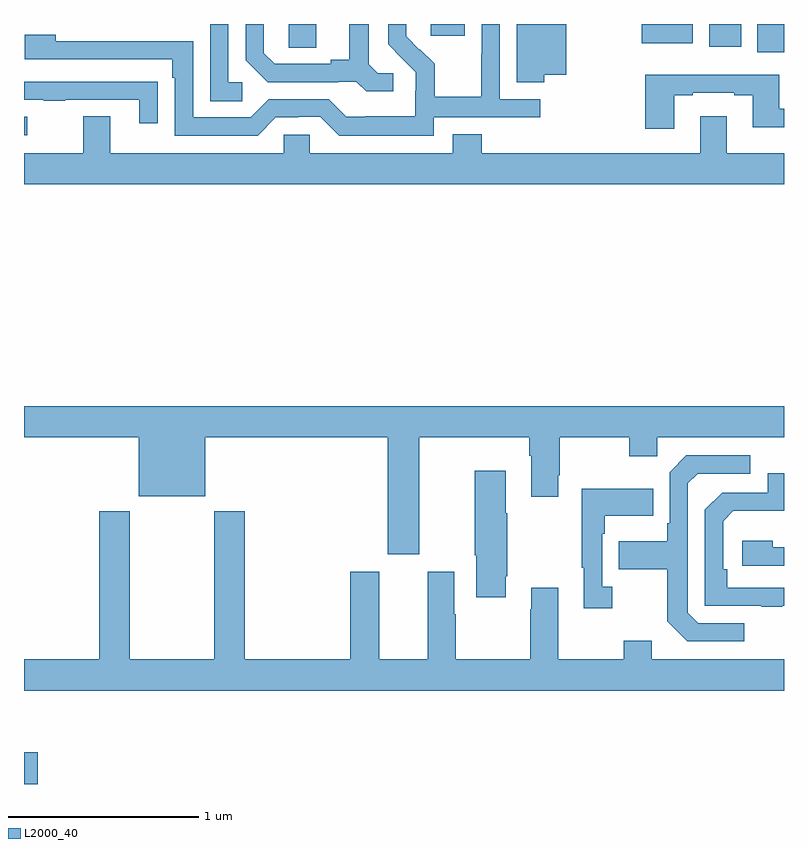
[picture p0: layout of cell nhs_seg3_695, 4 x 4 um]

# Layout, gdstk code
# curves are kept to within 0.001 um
import gdstk
lib = gdstk.Library(unit=1e-6, precision=1e-09)
def R(c, l, rs):  # rectangles x0, y0, x1, y1
    for r in rs: c.add(gdstk.rectangle(r[:2], r[2:], *l))
def P(c, l, *ps):  # polygons
    for p in ps: c.add(gdstk.Polygon(p, *l))
L2000_40 = (2000, 40)

nhs_seg3_695 = lib.new_cell('nhs_seg3_695')
R(nhs_seg3_695, L2000_40, [(145,724.4,145.073,724.567), (145,727.815,145.018,727.911), (148.859,728.252,149,728.4), (146.394,728.275,146.539,728.4), (148.607,728.28,148.774,728.4), (148.25,728.3,148.519,728.4), (147.14,728.337,147.319,728.4)])
P(nhs_seg3_695, L2000_40, [(147.737,728.132),(147.853,728.132),(147.853,728.4),(147.593,728.4),(147.593,728.093),(147.737,728.093)],
  [(146.944,728.142),(146.862,728.142),(146.815,728.189),(146.815,728.4),(146.711,728.4),(146.711,728.213),(146.615,728.213),(146.615,728.19),(146.32,728.19),(146.263,728.247),(146.263,728.4),(146.166,728.4),(146.166,728.21),(146.282,728.094),(146.654,728.094),(146.654,728.097),(146.748,728.097),(146.8,728.045),(146.944,728.045)],
  [(147.156,727.908),(147.718,727.908),(147.718,728.004),(147.504,728.004),(147.504,728.4),(147.408,728.4),(147.408,728.24),(147.406,728.24),(147.406,728.017),(147.161,728.017),(147.161,728.191),(147.084,728.268),(147.081,728.265),(147.011,728.336),(147.011,728.4),(146.916,728.4),(146.916,728.294),(147.062,728.146),(147.062,728.049),(147.06,728.049),(147.06,727.915),(146.797,727.915),(146.797,727.911),(146.697,727.911),(146.604,728.004),(146.289,728.004),(146.193,727.908),(145.89,727.908),(145.89,728.31),(145.166,728.31),(145.166,728.344),(145.005,728.344),(145.005,728.214),(145.781,728.214),(145.781,728.117),(145.794,728.117),(145.794,727.812),(146.229,727.812),(146.325,727.908),(146.444,727.908),(146.444,727.911),(146.559,727.911),(146.659,727.811),(147.156,727.811)],
  [(146.149,728.094),(146.076,728.094),(146.076,728.4),(145.98,728.4),(145.98,727.993),(146.149,727.993)],
  [(148.423,728.025),(148.519,728.025),(148.519,728.037),(148.739,728.037),(148.739,728.025),(148.835,728.025),(148.835,727.856),(149,727.856),(149,727.953),(148.975,727.953),(148.975,728.134),(148.271,728.134),(148.271,727.848),(148.423,727.848)],
  [(145.703,728.096),(145.601,728.096),(145.601,728.097),(145,728.097),(145,728.001),(145.105,728.001),(145.105,727.996),(145.217,727.996),(145.217,728.001),(145.607,728.001),(145.607,727.878),(145.703,727.878)],
  [(148.559,727.915),(148.559,727.72),(147.41,727.72),(147.41,727.819),(147.257,727.819),(147.257,727.72),(146.505,727.72),(146.505,727.818),(146.367,727.818),(146.367,727.72),(145.453,727.72),(145.453,727.915),(145.313,727.915),(145.313,727.72),(145,727.72),(145,727.556),(149,727.556),(149,727.72),(148.699,727.72),(148.699,727.915)],
  [(147.079,726.224),(147.659,726.224),(147.659,726.128),(147.671,726.128),(147.671,725.913),(147.811,725.913),(147.811,726.025),(147.819,726.025),(147.819,726.224),(148.186,726.224),(148.186,726.125),(148.332,726.125),(148.332,726.224),(149,726.224),(149,726.388),(145,726.388),(145,726.224),(145.604,726.224),(145.604,725.915),(145.954,725.915),(145.954,726.224),(146.915,726.224),(146.915,725.61),(147.079,725.61)],
  [(148.792,725.247),(148.548,725.247),(148.494,725.301),(148.494,725.982),(148.545,726.033),(148.822,726.033),(148.822,726.129),(148.485,726.129),(148.398,726.042),(148.398,725.773),(148.386,725.773),(148.386,725.677),(148.129,725.677),(148.129,725.53),(148.386,725.53),(148.386,725.257),(148.491,725.151),(148.792,725.151)],
  [(147.535,725.494),(147.543,725.494),(147.543,725.825),(147.535,725.825),(147.535,726.049),(147.373,726.049),(147.373,725.605),(147.38,725.605),(147.38,725.382),(147.535,725.382)],
  [(148.991,725.337),(149,725.337),(149,725.433),(148.7,725.433),(148.7,725.53),(148.68,725.53),(148.68,725.784),(148.733,725.837),(149,725.837),(149,726.036),(148.914,726.036),(148.914,725.934),(148.674,725.934),(148.584,725.844),(148.584,725.337),(148.879,725.337),(148.879,725.332),(148.991,725.332)],
  [(148.096,725.438),(148.044,725.438),(148.044,725.717),(148.057,725.717),(148.057,725.813),(148.313,725.813),(148.313,725.953),(147.936,725.953),(147.936,725.537),(147.947,725.537),(147.947,725.325),(148.096,725.325)],
  [(149,725.646),(148.94,725.646),(148.94,725.68),(148.779,725.68),(148.779,725.55),(149,725.55)],
  [(147.125,725.518),(147.125,725.056),(146.869,725.056),(146.869,725.518),(146.717,725.518),(146.717,725.056),(146.162,725.056),(146.162,725.836),(146.002,725.836),(146.002,725.056),(145.557,725.056),(145.557,725.836),(145.397,725.836),(145.397,725.056),(145,725.056),(145,724.892),(149,724.892),(149,725.056),(148.303,725.056),(148.303,725.155),(148.156,725.155),(148.156,725.056),(147.811,725.056),(147.811,725.434),(147.671,725.434),(147.671,725.321),(147.664,725.321),(147.664,725.056),(147.273,725.056),(147.273,725.294),(147.265,725.294),(147.265,725.518)])

lib.write_gds('nhs_seg3_695.gds')
